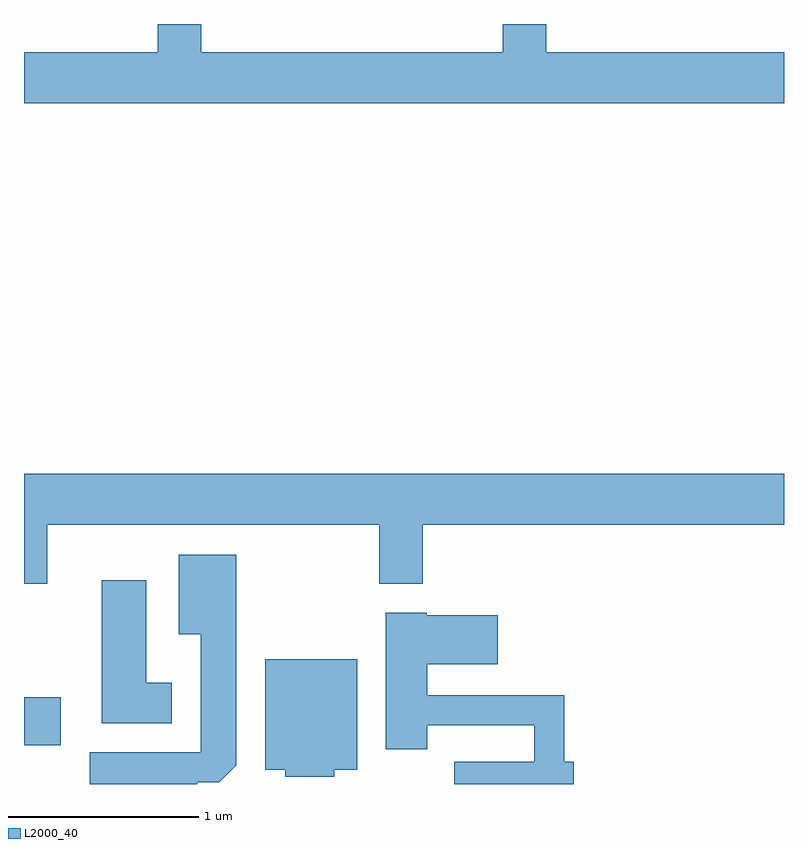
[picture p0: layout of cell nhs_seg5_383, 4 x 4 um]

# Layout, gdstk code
import gdstk
lib = gdstk.Library(unit=1e-6, precision=1e-09)
def R(c, l, rs):  # rectangles x0, y0, x1, y1
    for r in rs: c.add(gdstk.rectangle(r[:2], r[2:], *l))
def P(c, l, *ps):  # polygons
    for p in ps: c.add(gdstk.Polygon(p, *l))
L2000_40 = (2000, 40)

nhs_seg5_383 = lib.new_cell('nhs_seg5_383')
R(nhs_seg5_383, L2000_40, [(195.611,1482.276,195.804,1482.529)])
P(nhs_seg5_383, L2000_40, [(199.611,1485.924),(198.359,1485.924),(198.359,1486.072),(198.131,1486.072),(198.131,1485.924),(196.544,1485.924),(196.544,1486.072),(196.316,1486.072),(196.316,1485.924),(195.611,1485.924),(195.611,1485.656),(199.611,1485.656)],
  [(195.734,1483.436),(197.481,1483.436),(197.481,1483.126),(197.709,1483.126),(197.709,1483.436),(199.611,1483.436),(199.611,1483.704),(195.611,1483.704),(195.611,1483.126),(195.734,1483.126)],
  [(196.524,1482.081),(196.639,1482.081),(196.729,1482.172),(196.729,1483.279),(196.426,1483.279),(196.426,1482.861),(196.541,1482.861),(196.541,1482.239),(195.956,1482.239),(195.956,1482.072),(196.524,1482.072)],
  [(196.389,1482.604),(196.254,1482.604),(196.254,1483.144),(196.021,1483.144),(196.021,1482.391),(196.389,1482.391)],
  [(198.504,1482.189),(198.454,1482.189),(198.454,1482.539),(197.734,1482.539),(197.734,1482.701),(198.104,1482.701),(198.104,1482.959),(197.73,1482.959),(197.73,1482.974),(197.516,1482.974),(197.516,1482.256),(197.734,1482.256),(197.734,1482.381),(198.296,1482.381),(198.296,1482.189),(197.876,1482.189),(197.876,1482.072),(198.504,1482.072)],
  [(197.244,1482.146),(197.364,1482.146),(197.364,1482.729),(196.881,1482.729),(196.881,1482.146),(196.986,1482.146),(196.986,1482.111),(197.244,1482.111)])

lib.write_gds('nhs_seg5_383.gds')
